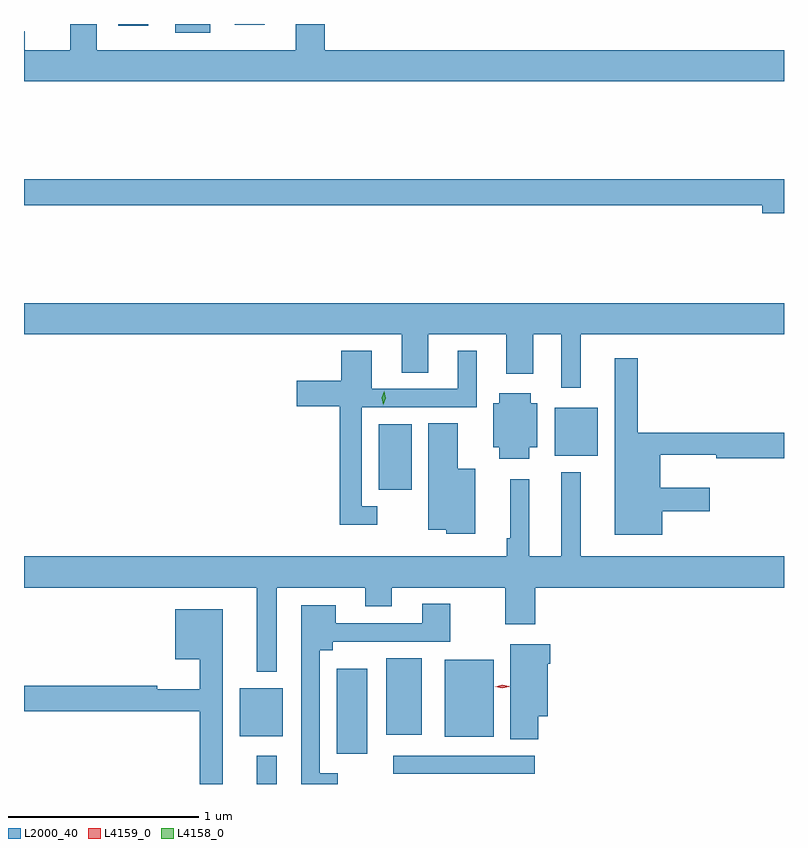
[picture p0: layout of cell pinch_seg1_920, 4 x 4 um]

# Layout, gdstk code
import gdstk
lib = gdstk.Library(unit=1e-6, precision=1e-09)
def R(c, l, rs):  # rectangles x0, y0, x1, y1
    for r in rs: c.add(gdstk.rectangle(r[:2], r[2:], *l))
def P(c, l, *ps):  # polygons
    for p in ps: c.add(gdstk.Polygon(p, *l))
L2000_40 = (2000, 40)
L4158_0 = (4158, 0)
L4159_0 = (4159, 0)

pinch_seg1_920 = lib.new_cell('pinch_seg1_920')
R(pinch_seg1_920, L2000_40, [(205.307,569.346,205.411,569.494), (206.025,569.4,206.77,569.496), (205.727,569.505,205.888,569.953), (206.297,569.594,206.554,570.001), (205.217,569.597,205.444,569.851), (205.988,569.606,206.176,570.007), (205.949,570.896,206.122,571.24), (206.876,571.073,207.103,571.327), (204.878,573.299,205.063,573.346), (204.578,573.336,204.736,573.346), (205.19,573.342,205.348,573.346)])
P(pinch_seg1_920, L2000_40, [(208.082,573.208),(205.664,573.208),(205.664,573.346),(205.511,573.346),(205.511,573.208),(204.466,573.208),(204.466,573.346),(204.326,573.346),(204.326,573.208),(204.085,573.208),(204.085,573.307),(204.082,573.307),(204.082,573.044),(208.082,573.044)],
  [(208.082,572.528),(204.082,572.528),(204.082,572.392),(207.968,572.392),(207.968,572.35),(208.082,572.35)],
  [(207.013,571.712),(208.082,571.712),(208.082,571.876),(204.082,571.876),(204.082,571.712),(206.069,571.712),(206.069,571.51),(206.209,571.51),(206.209,571.712),(206.621,571.712),(206.621,571.506),(206.761,571.506),(206.761,571.712),(206.909,571.712),(206.909,571.431),(207.013,571.431)],
  [(205.942,570.807),(205.86,570.807),(205.86,571.329),(206.464,571.329),(206.464,571.627),(206.366,571.627),(206.366,571.425),(205.912,571.425),(205.912,571.627),(205.751,571.627),(205.751,571.468),(205.518,571.468),(205.518,571.334),(205.744,571.334),(205.744,570.71),(205.942,570.71)],
  [(207.442,570.782),(207.691,570.782),(207.691,570.904),(207.43,570.904),(207.43,571.079),(207.726,571.079),(207.726,571.06),(208.082,571.06),(208.082,571.196),(207.313,571.196),(207.313,571.588),(207.191,571.588),(207.191,570.659),(207.442,570.659)],
  [(206.74,571.118),(206.782,571.118),(206.782,571.351),(206.748,571.351),(206.748,571.402),(206.582,571.402),(206.582,571.351),(206.552,571.351),(206.552,571.118),(206.582,571.118),(206.582,571.058),(206.74,571.058)],
  [(206.458,571.006),(206.365,571.006),(206.365,571.244),(206.21,571.244),(206.21,570.683),(206.304,570.683),(206.304,570.662),(206.458,570.662)],
  [(205.411,570.38),(205.877,570.38),(205.877,570.281),(206.017,570.281),(206.017,570.38),(206.614,570.38),(206.614,570.186),(206.774,570.186),(206.774,570.38),(208.082,570.38),(208.082,570.544),(207.013,570.544),(207.013,570.988),(206.909,570.988),(206.909,570.544),(206.74,570.544),(206.74,570.949),(206.642,570.949),(206.642,570.64),(206.623,570.64),(206.623,570.544),(204.082,570.544),(204.082,570.38),(205.307,570.38),(205.307,569.936),(205.411,569.936)],
  [(205.732,569.403),(205.638,569.403),(205.638,570.05),(205.708,570.05),(205.708,570.096),(206.325,570.096),(206.325,570.295),(206.177,570.295),(206.177,570.192),(205.723,570.192),(205.723,570.286),(205.541,570.286),(205.541,569.954),(205.542,569.954),(205.542,569.346),(205.732,569.346)],
  [(205.129,570.265),(204.878,570.265),(204.878,570.002),(205.008,570.002),(205.008,569.845),(204.782,569.845),(204.782,569.864),(204.082,569.864),(204.082,569.728),(205.008,569.728),(205.008,569.346),(205.129,569.346)],
  [(206.789,569.702),(206.839,569.702),(206.839,569.978),(206.852,569.978),(206.852,570.082),(206.642,570.082),(206.642,569.581),(206.789,569.581)])
P(pinch_seg1_920, L4158_0, [(205.974,571.341),(205.974,571.342),(205.966,571.378),(205.977,571.413),(205.977,571.413),(205.978,571.413),(205.986,571.377),(205.974,571.342)])
P(pinch_seg1_920, L4159_0, [(206.598,569.849),(206.561,569.859),(206.561,569.859),(206.561,569.859),(206.598,569.869),(206.635,569.86),(206.635,569.86),(206.635,569.859)])

lib.write_gds('pinch_seg1_920.gds')
